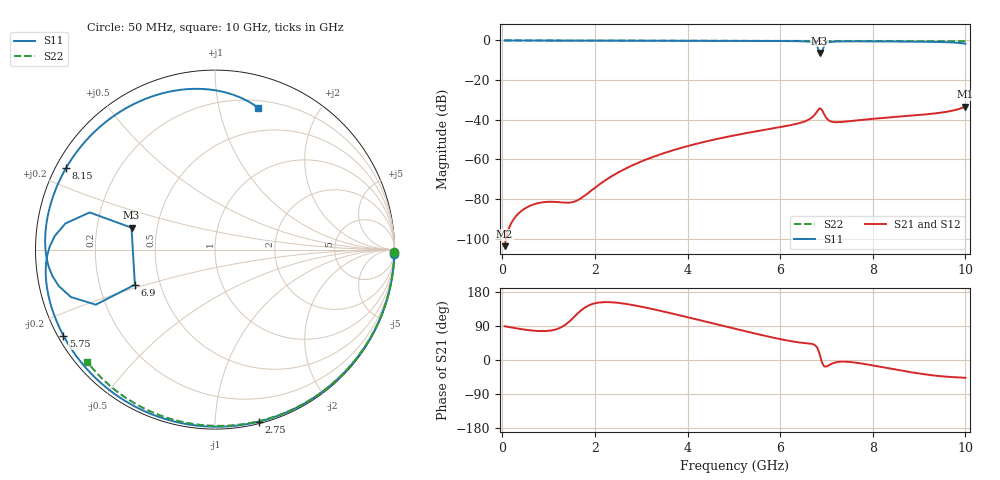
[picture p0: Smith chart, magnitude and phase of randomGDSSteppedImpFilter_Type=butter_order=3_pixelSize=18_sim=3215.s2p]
! freq	dB(S11)	phase(S11)	dB(S12)	phase(S12)
!  dB(S21)	phase(S21)	dB(S22)	phase(S22)
!S-par simulation data
#  GHz  S  DB  R 50
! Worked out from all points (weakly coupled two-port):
!   200 points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, 50 MHz to 10 GHz, reference 50 ohm
!   highest |S21| = -33.40 dB at 10 GHz (marker M1); lowest = -103.8 dB at 50 MHz (marker M2)
!   lowest |S11| = -6.4 dB at 6.85 GHz (marker M3), VSWR 2.85, Z = 17.8 + j5.64 ohm
!   |S11| at or under -10 dB: nowhere
!   |S22| runs from -0.5 to 0.0 dB; largest |S21 - S12| = 0
!   S11 on the Smith chart (normalised r, x): 50 MHz: 0, -79; 2.75 GHz: 0.01, -1.29; 5.75 GHz: 0.02, -0.26; 6.9 GHz: 0.36, -0.18; 8.15 GHz: 0.03, +0.26; 10 GHz: 0.26, +1.31
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0.05  -0.00 -1.4  -103.84 89.3  -103.84 89.3  -0.00 -0.8
0.85  -0.03 -24.2  -81.76 76.3  -81.76 76.3  -0.02 -13.6
1.75  -0.06 -49.1  -78.85 135.6  -78.85 135.6  -0.04 -27.7
2.25  -0.08 -62.6  -70.20 152.8  -70.20 152.8  -0.05 -35.4
2.75  -0.09 -75.6  -63.69 146.4  -63.69 146.4  -0.06 -43.0
3.4  -0.12 -92.2  -57.59 130.2  -57.59 130.2  -0.07 -52.6
4.2  -0.15 -112.0  -52.12 107.0  -52.12 107.0  -0.09 -64.2
5.05  -0.20 -132.8  -47.73 81.6  -47.73 81.6  -0.12 -76.1
5.75  -0.25 -150.4  -44.76 61.7  -44.76 61.7  -0.14 -85.6
6.4  -0.38 -169.2  -41.81 46.5  -41.81 46.5  -0.17 -94.1
6.7  -0.94 175.2  -38.62 42.0  -38.62 42.0  -0.19 -98.0
6.8  -2.75 163.5  -35.77 33.0  -35.77 33.0  -0.20 -99.3
6.85  -6.36 165.3  -34.27 17.1  -34.27 17.1  -0.20 -99.9
6.9  -6.24 -156.3  -34.86 -5.5  -34.86 -5.5  -0.20 -100.5
6.95  -2.72 -155.2  -37.26 -16.9  -37.26 -16.9  -0.20 -101.2
7  -1.46 -161.8  -39.24 -17.2  -39.24 -17.2  -0.21 -101.8
7.15  -0.62 -173.9  -41.19 -8.0  -41.19 -8.0  -0.22 -103.7
8.15  -0.48 151.2  -39.26 -17.6  -39.26 -17.6  -0.29 -116.2
8.35  -0.51 144.9  -38.86 -22.1  -38.86 -22.1  -0.30 -118.7
9.4  -0.76 106.5  -36.67 -41.9  -36.67 -41.9  -0.40 -131.4
9.75  -1.05 89.4  -35.28 -45.3  -35.28 -45.3  -0.44 -135.6
10  -1.65 73.1  -33.40 -47.0  -33.40 -47.0  -0.47 -138.7
